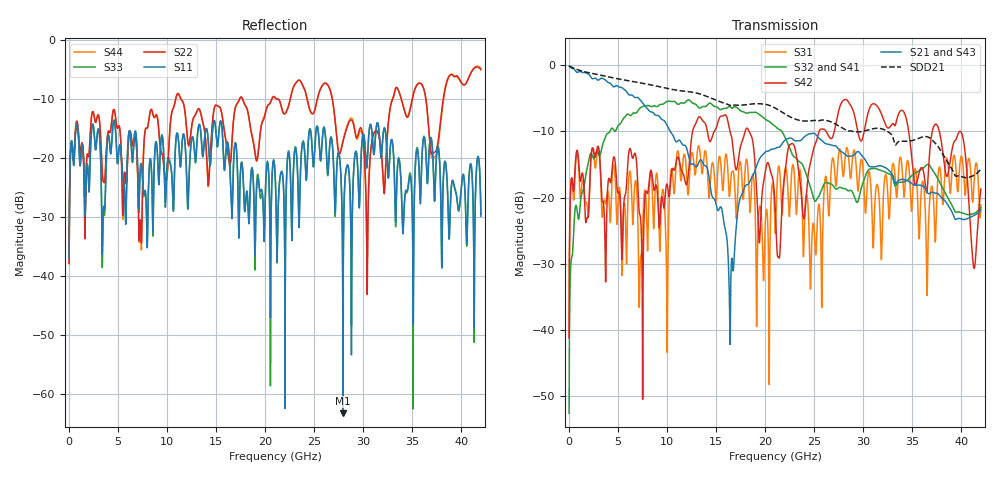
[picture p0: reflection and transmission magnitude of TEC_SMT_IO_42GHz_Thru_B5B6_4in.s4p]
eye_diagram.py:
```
import skrf as rf
import matplotlib.pyplot as plt
import numpy as np
from scipy.signal import convolve

# --- CONFIGURATION ---
file_path = "TEC_SMT_IO_42GHz_Thru_B5B6_4in.s4p" 
data_rate = 28e9   # 28 Gbps NRZ
UI = 1 / data_rate # ~35.7 ps
num_bits = 3000    # More bits = smoother density
samples_per_symbol = 32 # 32 is usually enough for visual check

def run_eye_sim():
    try:
        net = rf.Network(file_path)
    except Exception:
        print("File not found.")
        return

    net.renumber(from_ports=[0, 2, 1, 3], to_ports=[0, 1, 2, 3])

    net.renormalize(50)
    net.se2gmm(p=2)
    
    sdd21 = net.s[:, 1, 0]
    
    #create a 1-port network of just the Sdd21 data
    net_sdd21 = rf.Network(frequency=net.frequency, s=sdd21, z0=100)
    
    #extrapolate to DC
    net_dc = net_sdd21.extrapolate_to_dc(kind='linear', dc_sparam=1.0)

    #automatically handles the frequency spacing and time axis
    t_impulse, impulse = net_dc.impulse_response(window='hamming', pad=2000)

    #resample Impulse to match Simulation Rate
    #we need strict timing for the convolution
    target_dt = UI / samples_per_symbol
    t_sim = np.arange(0, t_impulse[-1], target_dt)
    
    # Interpolate the impulse onto the new time grid
    impulse_interp = np.interp(t_sim, t_impulse, impulse)
    
    #normalize impulse energy so a steady '1' equals 1.0V
    #the sum of the impulse response * dt roughly equals the DC gain (1.0)
    current_area = np.sum(impulse_interp)
    impulse_interp = impulse_interp / current_area

    # 5. Generate Random Data
    bits = np.random.randint(0, 2, num_bits) * 2 - 1 # NRZ: -1, +1
    
    # 6. Transmit (Upsample + Convolve)
    tx_signal = np.repeat(bits, samples_per_symbol)
    rx_signal = convolve(tx_signal, impulse_interp)[:len(tx_signal)]

    # 7. Plotting
    plt.figure(figsize=(10, 6), facecolor='black')
    ax = plt.gca()
    ax.set_facecolor('black')
    
    # Fold Logic
    fold_width = 2 * samples_per_symbol
    num_traces = len(rx_signal) // fold_width
    t_axis = np.linspace(0, 2, fold_width)
    
    # Plot traces
    for i in range(10, min(1000, num_traces)):
        segment = rx_signal[i*fold_width : (i+1)*fold_width]
        plt.plot(t_axis, segment, color='lime', alpha=0.2, linewidth=1)

    plt.title(f"28 Gbps Eye Diagram (4-inch Channel)", color='white')
    plt.xlabel("Time (UI)", color='white')
    plt.ylabel("Voltage (Normalized)", color='white')
    plt.xlim(0, 2)
    plt.ylim(-1.5, 1.5) # Center the eye
    plt.grid(False)
    plt.tick_params(colors='white')
    plt.tight_layout()
    plt.show()

if __name__ == "__main__":
    run_eye_sim()
```
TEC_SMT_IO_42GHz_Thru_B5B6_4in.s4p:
!! CHANNEL DESCRIPTION: Next Generation 28Gbps High Density SMT I/O Connector
!!  with 4" 5-6-5 Megatron 6 Stripline trace on host side and 1.25" 7-5-7 Megtron 6 Microstrip trace on plug side at 14GHz
!! HOST PCB DESCRIPTION: PCB thickness 2.86 mm, Nelco 4000-13SI (Dk 3.32, Df 0.010)
!!  23 Layer Board, 12 GND planes, 2 Layer route-out on Layers 10,12, 8 mil stub on vias
!!  Pairs on following layers
!!  Layer 12 - B5B6
!! CONNECTOR DESCRIPTION:  Next Generation 28Gbps High Density SMT I/O Connector
!! PLUG-IN CARD DESCRIPTION:  PCB thickness 1mm thick, Nelco 4000-13SI (Dk 3.32, Df 0.010)
!!  6 Layer Board, 4 GND planes, 0.35 x 1.4mm mating pads
!!  Micro-strip diff traces referenced to GND plane 3mils down, 2nd GND plane 15mils from top of board
!!  PCB GND planes are symmetric
!! MODEL DESCRIPTION: TE Connectivity S-parameter model produced from Macro-model
!! MODEL DATE: 9/25/2014 CR1a_GC1i, VR6&12_4
!! MODEL STATUS: Developmental
!! MODEL GEOMETRY: 2 Rows - Rows A, B. 3 pairs in each row, 6 total pairs
!! MODEL FREQUENCY RANGE: DC to 42 GHz in 10 MHz frequency steps
!! MODEL EDGE RATE LIMITATION: 11.90 ps (Using conservative 0.5/Fmax rule of thumb)
!! TIME-DOMAIN TRANSFORM CAUTIONS:
!! 1.) Do not simulate transient edge rates faster than the number listed above.  Edge
!!  rates faster than this number contain significant spectral content at frequencies
!!  above the model's highest frequency.
!! 2.) Even when simulating edge rates that are slower than the number listed above, be
!!  aware that the best time resolution possible with a direct iFFT is (1 / 2Fmax).
!!  As a result, time resolution is typically not adequate for most time-domain
!!  simulations unless tricks such as frequency-domain zero-padding and windowing are
!!  used to minimize leakage and aliasing.
!! 3.) Because the model has a uniform frequency step, a direct iFFT will result in an
!!  impulse that that has a time length given by either (1 / Fstep) or (1 / 2Fstep),
!!  depending on the transform being used.  Care has been taken in selecting the
!!  frequency step to ensure a settled impulse response for the model.  Therefore,
!!  convolution with the model's impulse response should present no issues.  However,
!!  if directly concatenating s-parameter models in the frequency domain a user must
!!  either interpolate necessary interim frequencies or complete impulse response
!!  zero-padding.  Impulse response zero-padding is more difficult, but more accurate.
!! PORT DEFINITIONS:
!! Port  1  ----->  Host, Bot Row  B5  B5  Module, Top Row  <-----  Port  2
!! Port  3  ----->  Host, Bot Row  B6  B6  Module, Top Row  <-----  Port  4
# Hz S MA R 50
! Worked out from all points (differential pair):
!   4200 points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, 10 MHz to 42 GHz, reference 50 ohm
!   strongest paths, dB at 10 MHz, 10.51 GHz, 21.01 GHz, 31.51 GHz, 42 GHz:
!     S21: -0.1, -10.4, -12.6, -15.2, -21.8
!     S42: -41.1, -15.7, -21.2, -6.3, -18.7
!     S43: -0.1, -10.4, -12.6, -15.2, -21.8
!     S32: -52.6, -5.5, -9.2, -15.7, -21.5
!     S41: -52.6, -5.5, -9.1, -15.7, -21.4
!     S31: -41.2, -15.9, -24.8, -18.4, -21.1
!   taken as a pair (ports 1,3 in; 2,4 out), SDD21 dB: -0.1, -3.6, -6.4, -9.5, -15.6
!   lowest |S11| = -63.2 dB at 27.93 GHz (marker M1), VSWR 1.00, Z = 49.9 + j0.0392 ohm
!   |S11| at or under -10 dB: start of sweep to end of sweep
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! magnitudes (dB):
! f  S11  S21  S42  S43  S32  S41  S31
! 10 MHz  -36.9  -0.1  -41.1  -0.1  -52.6  -52.6  -41.2
! 27.93 GHz  -63.2  -13.2  -5.4  -13.3  -18.6  -18.6  -16.6
! 42 GHz  -29.8  -21.8  -18.7  -21.8  -21.5  -21.4  -21.1
